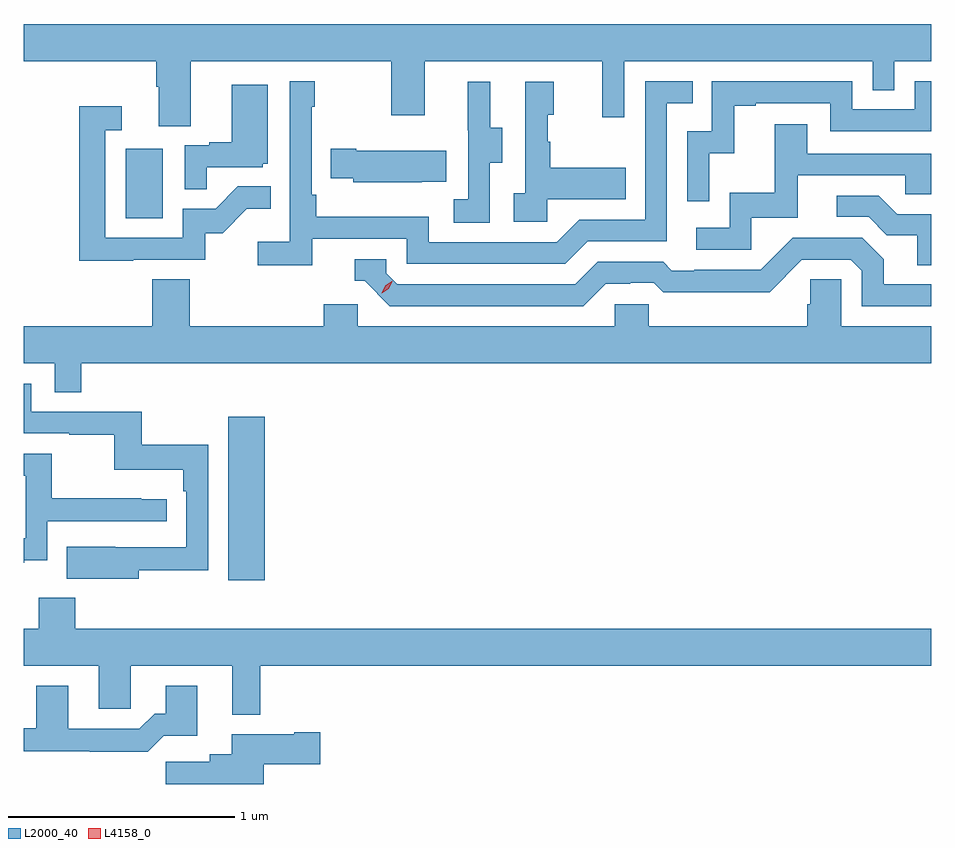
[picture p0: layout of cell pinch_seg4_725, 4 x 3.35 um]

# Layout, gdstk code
import gdstk
lib = gdstk.Library(unit=1e-6, precision=1e-09)
def R(c, l, rs):  # rectangles x0, y0, x1, y1
    for r in rs: c.add(gdstk.rectangle(r[:2], r[2:], *l))
def P(c, l, *ps):  # polygons
    for p in ps: c.add(gdstk.Polygon(p, *l))
L2000_40 = (2000, 40)
L4158_0 = (4158, 0)

pinch_seg4_725 = lib.new_cell('pinch_seg4_725')
R(pinch_seg4_725, L2000_40, [(841.763,819.84,841.924,820.561), (841.31,821.436,841.474,821.743)])
P(pinch_seg4_725, L2000_40, [(841.597,822.128),(842.482,822.128),(842.482,821.889),(842.629,821.889),(842.629,822.128),(843.41,822.128),(843.41,821.88),(843.507,821.88),(843.507,822.128),(844.602,822.128),(844.602,822.001),(844.698,822.001),(844.698,822.128),(844.861,822.128),(844.861,822.292),(840.861,822.292),(840.861,822.128),(841.445,822.128),(841.445,822.016),(841.457,822.016),(841.457,821.842),(841.597,821.842)],
  [(842.132,821.346),(842.55,821.346),(842.55,821.235),(843.247,821.235),(843.346,821.334),(843.696,821.334),(843.696,821.943),(843.809,821.943),(843.809,822.039),(843.6,822.039),(843.6,821.43),(843.309,821.43),(843.21,821.331),(842.646,821.331),(842.646,821.443),(842.15,821.443),(842.15,821.539),(842.13,821.539),(842.13,821.927),(842.143,821.927),(842.143,822.04),(842.034,822.04),(842.034,821.332),(841.893,821.332),(841.893,821.23),(842.132,821.23)],
  [(843.882,821.723),(843.992,821.723),(843.992,821.931),(844.087,821.931),(844.087,821.943),(844.416,821.943),(844.416,821.82),(844.861,821.82),(844.861,822.039),(844.788,822.039),(844.788,821.916),(844.512,821.916),(844.512,822.039),(843.894,822.039),(843.894,821.82),(843.786,821.82),(843.786,821.511),(843.882,821.511)],
  [(843.168,821.519),(843.515,821.519),(843.515,821.659),(843.181,821.659),(843.181,821.774),(843.171,821.774),(843.171,821.892),(843.196,821.892),(843.196,822.037),(843.072,822.037),(843.072,821.546),(843.021,821.546),(843.021,821.421),(843.168,821.421)],
  [(842.916,821.68),(842.971,821.68),(842.971,821.835),(842.917,821.835),(842.917,822.037),(842.819,822.037),(842.819,821.823),(842.82,821.823),(842.82,821.519),(842.757,821.519),(842.757,821.416),(842.916,821.416)],
  [(841.667,821.661),(841.914,821.661),(841.914,821.676),(841.936,821.676),(841.936,822.025),(841.778,822.025),(841.778,821.77),(841.679,821.77),(841.679,821.757),(841.572,821.757),(841.572,821.563),(841.667,821.563)],
  [(841.343,821.253),(841.662,821.253),(841.662,821.37),(841.738,821.37),(841.845,821.477),(841.949,821.477),(841.949,821.576),(841.805,821.576),(841.707,821.478),(841.563,821.478),(841.563,821.349),(841.221,821.349),(841.221,821.823),(841.294,821.823),(841.294,821.929),(841.105,821.929),(841.105,821.248),(841.343,821.248)],
  [(844.068,821.439),(844.273,821.439),(844.273,821.625),(844.747,821.625),(844.747,821.541),(844.861,821.541),(844.861,821.721),(844.315,821.721),(844.315,821.851),(844.171,821.851),(844.171,821.548),(843.972,821.548),(843.972,821.394),(843.825,821.394),(843.825,821.298),(844.068,821.298)],
  [(842.615,821.597),(842.723,821.597),(842.723,821.734),(842.326,821.734),(842.326,821.742),(842.215,821.742),(842.215,821.612),(842.313,821.612),(842.313,821.594),(842.615,821.594)],
  [(844.861,821.454),(844.711,821.454),(844.63,821.535),(844.443,821.535),(844.443,821.442),(844.584,821.442),(844.664,821.362),(844.799,821.362),(844.799,821.23),(844.861,821.23)],
  [(843.427,821.148),(843.534,821.148),(843.534,821.151),(843.637,821.151),(843.679,821.109),(843.912,821.109),(843.912,821.111),(844.148,821.111),(844.29,821.253),(844.506,821.253),(844.554,821.205),(844.554,821.049),(844.861,821.049),(844.861,821.145),(844.651,821.145),(844.651,821.255),(844.557,821.349),(844.251,821.349),(844.11,821.208),(843.817,821.208),(843.817,821.205),(843.718,821.205),(843.679,821.244),(843.39,821.244),(843.291,821.145),(842.508,821.145),(842.46,821.193),(842.46,821.256),(842.321,821.256),(842.321,821.16),(842.364,821.16),(842.475,821.049),(843.328,821.049)],
  [(841.115,820.796),(844.861,820.796),(844.861,820.96),(844.464,820.96),(844.464,821.168),(844.327,821.168),(844.327,821.058),(844.313,821.058),(844.313,820.96),(843.615,820.96),(843.615,821.058),(843.465,821.058),(843.465,820.96),(842.334,820.96),(842.334,821.058),(842.183,821.058),(842.183,820.96),(841.592,820.96),(841.592,821.168),(841.427,821.168),(841.427,820.96),(840.861,820.96),(840.861,820.796),(840.999,820.796),(840.999,820.669),(841.115,820.669)],
  [(841.369,819.886),(841.674,819.886),(841.674,820.438),(841.381,820.438),(841.381,820.584),(840.894,820.584),(840.894,820.707),(840.861,820.707),(840.861,820.488),(841.063,820.488),(841.063,820.483),(841.26,820.483),(841.26,820.328),(841.565,820.328),(841.565,820.232),(841.578,820.232),(841.578,819.987),(841.265,819.987),(841.265,819.988),(841.051,819.988),(841.051,819.848),(841.369,819.848)],
  [(840.863,819.929),(840.966,819.929),(840.966,820.101),(841.492,820.101),(841.492,820.197),(841.379,820.197),(841.379,820.202),(840.986,820.202),(840.986,820.398),(840.861,820.398),(840.861,820.302),(840.87,820.302),(840.87,820.026),(840.861,820.026),(840.861,819.918),(840.863,819.918)],
  [(841.903,819.464),(844.861,819.464),(844.861,819.628),(841.088,819.628),(841.088,819.763),(840.928,819.763),(840.928,819.628),(840.861,819.628),(840.861,819.464),(841.193,819.464),(841.193,819.274),(841.332,819.274),(841.332,819.464),(841.781,819.464),(841.781,819.248),(841.903,819.248)],
  [(841.478,819.155),(841.627,819.155),(841.627,819.376),(841.487,819.376),(841.487,819.253),(841.438,819.253),(841.371,819.186),(841.057,819.186),(841.057,819.376),(840.917,819.376),(840.917,819.189),(840.861,819.189),(840.861,819.088),(841.153,819.088),(841.153,819.086),(841.409,819.086)],
  [(841.918,819.029),(842.167,819.029),(842.167,819.171),(842.054,819.171),(842.054,819.163),(841.778,819.163),(841.778,819.073),(841.682,819.073),(841.682,819.041),(841.488,819.041),(841.488,818.943),(841.918,818.943)])
P(pinch_seg4_725, L4158_0, [(842.438,821.106),(842.438,821.106),(842.454,821.139),(842.484,821.159),(842.485,821.159),(842.485,821.158),(842.469,821.126),(842.438,821.106)])

lib.write_gds('pinch_seg4_725.gds')
